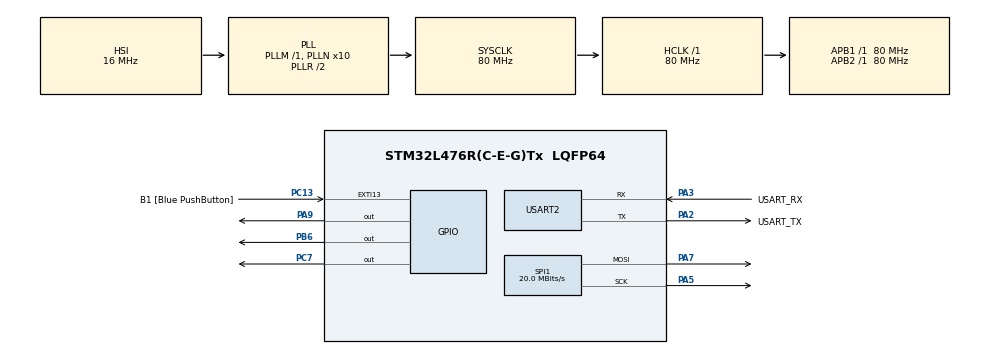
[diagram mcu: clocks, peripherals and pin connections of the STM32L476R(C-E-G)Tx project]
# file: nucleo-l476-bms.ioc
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Dma.Request0=SPI1_TX
Dma.SPI1_TX.0.Direction=DMA_MEMORY_TO_PERIPH
Dma.SPI1_TX.0.Instance=DMA1_Channel3
Dma.SPI1_TX.0.MemDataAlignment=DMA_MDATAALIGN_BYTE
Dma.SPI1_TX.0.MemInc=DMA_MINC_ENABLE
Dma.SPI1_TX.0.Mode=DMA_NORMAL
Dma.SPI1_TX.0.PeriphDataAlignment=DMA_PDATAALIGN_BYTE
Dma.SPI1_TX.0.PeriphInc=DMA_PINC_DISABLE
Dma.SPI1_TX.0.Priority=DMA_PRIORITY_LOW
Mcu.Family=STM32L4
Mcu.Name=STM32L476R(C-E-G)Tx
Mcu.Package=LQFP64
NVIC.DMA1_Channel3_IRQn=true\:0\:0\:false\:false\:true\:false\:true\:true
NVIC.PriorityGroup=NVIC_PRIORITYGROUP_4
PA13\ (JTMS-SWDIO).GPIO_Label=TMS
PA13\ (JTMS-SWDIO).Mode=Serial_Wire
PA13\ (JTMS-SWDIO).Signal=SYS_JTMS-SWDIO
PA14\ (JTCK-SWCLK).GPIO_Label=TCK
PA14\ (JTCK-SWCLK).Mode=Serial_Wire
PA14\ (JTCK-SWCLK).Signal=SYS_JTCK-SWCLK
PA2.GPIO_Label=USART_TX
PA2.GPIO_Mode=GPIO_MODE_AF_PP
PA2.GPIO_PuPd=GPIO_NOPULL
PA2.GPIO_Speed=GPIO_SPEED_FREQ_VERY_HIGH
PA2.Mode=Asynchronous
PA2.Signal=USART2_TX
PA3.GPIO_Label=USART_RX
PA3.GPIO_Mode=GPIO_MODE_AF_PP
PA3.GPIO_PuPd=GPIO_NOPULL
PA3.GPIO_Speed=GPIO_SPEED_FREQ_VERY_HIGH
PA3.Mode=Asynchronous
PA3.Signal=USART2_RX
PA5.Mode=TX_Only_Simplex_Unidirect_Master
PA5.Signal=SPI1_SCK
PA7.Mode=TX_Only_Simplex_Unidirect_Master
PA7.Signal=SPI1_MOSI
PA9.Signal=GPIO_Output
PB3\ (JTDO-TRACESWO).GPIO_Label=SWO
PB3\ (JTDO-TRACESWO).Signal=SYS_JTDO-SWO
PB6.Signal=GPIO_Output
PC13.GPIO_Label=B1 [Blue PushButton]
PC13.GPIO_ModeDefaultEXTI=GPIO_MODE_IT_FALLING
PC13.GPIO_PuPd=GPIO_NOPULL
PC13.Signal=GPXTI13
PC14-OSC32_IN\ (PC14).Mode=LSE-External-Oscillator
PC14-OSC32_IN\ (PC14).Signal=RCC_OSC32_IN
PC15-OSC32_OUT\ (PC15).Mode=LSE-External-Oscillator
PC15-OSC32_OUT\ (PC15).Signal=RCC_OSC32_OUT
PC7.Signal=GPIO_Output
PH0-OSC_IN\ (PH0).Signal=RCC_OSC_IN
PH1-OSC_OUT\ (PH1).Signal=RCC_OSC_OUT
ProjectManager.HeapSize=0x200
ProjectManager.StackSize=0x400
ProjectManager.TargetToolchain=STM32CubeIDE
RCC.ADCFreq_Value=64000000
RCC.AHBFreq_Value=80000000
RCC.APB1Freq_Value=80000000
RCC.APB1TimFreq_Value=80000000
RCC.APB2Freq_Value=80000000
RCC.APB2TimFreq_Value=80000000
RCC.CortexFreq_Value=80000000
RCC.HCLKFreq_Value=80000000
RCC.HSE_VALUE=8000000
RCC.HSI_VALUE=16000000
RCC.MSI_VALUE=4000000
RCC.PLLN=10
RCC.PLLSourceVirtual=RCC_PLLSOURCE_HSI
RCC.PREFETCH_ENABLE=1
RCC.SYSCLKFreq_VALUE=80000000
RCC.SYSCLKSource=RCC_SYSCLKSOURCE_PLLCLK
RCC.USBFreq_Value=64000000
RCC.VCOOutputFreq_Value=160000000
SPI1.BaudRatePrescaler=SPI_BAUDRATEPRESCALER_4
SPI1.CalculateBaudRate=20.0 MBits/s
SPI1.DataSize=SPI_DATASIZE_8BIT
SPI1.Direction=SPI_DIRECTION_2LINES
SPI1.Mode=SPI_MODE_MASTER
SPI1.VirtualType=VM_MASTER
USART2.VirtualMode-Asynchronous=VM_ASYNC
board=NUCLEO-L476RG

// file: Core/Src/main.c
/* USER CODE BEGIN Header */
/**
  ******************************************************************************
  * @file           : main.c
  * @brief          : Main program body
  ******************************************************************************
  * @attention
  *
  * Copyright (c) 2022 STMicroelectronics.
  * All rights reserved.
  *
  * This software is licensed under terms that can be found in the LICENSE file
  * in the root directory of this software component.
  * If no LICENSE file comes with this software, it is provided AS-IS.
  *
  ******************************************************************************
  */
/* USER CODE END Header */
#include "main.h"

/* USER CODE BEGIN Includes */
#include <stdio.h>
#include "ILI9341_STM32_Driver.h"
#include "ILI9341_GFX.h"
#include "snow_tiger.h"
/* USER CODE END Includes */

SPI_HandleTypeDef hspi1;
DMA_HandleTypeDef hdma_spi1_tx;

UART_HandleTypeDef huart2;

void SystemClock_Config(void);
static void MX_GPIO_Init(void);
static void MX_DMA_Init(void);
static void MX_USART2_UART_Init(void);
static void MX_SPI1_Init(void);

int main(void)
{

  /* MCU Configuration--------------------------------------------------------*/

  /* Reset of all peripherals, Initializes the Flash interface and the Systick. */
  HAL_Init();

  /* Configure the system clock */
  SystemClock_Config();

  /* Initialize all configured peripherals */
  MX_GPIO_Init();
  MX_DMA_Init();
  MX_USART2_UART_Init();
  MX_SPI1_Init();
  /* USER CODE BEGIN 2 */
  ILI9341_Init();

#if 0
  // Simple Text writing (Text, Font, X, Y, Color, BackColor)
  // Available Fonts are FONT1, FONT2, FONT3 and FONT4
  ILI9341_FillScreen(WHITE);
  ILI9341_SetRotation(SCREEN_HORIZONTAL_2);
  ILI9341_DrawText("HELLO WORLD", FONT4, 90, 110, BLACK, WHITE);
  HAL_Delay(1000);

  //Writing numbers
  ILI9341_FillScreen(WHITE);
  static char BufferText[30];
  for(uint8_t i = 0; i <= 5; i++)
  {
    sprintf(BufferText, "COUNT : %d", i);
    ILI9341_DrawText(BufferText, FONT3, 10, 10, BLACK, WHITE);
    ILI9341_DrawText(BufferText, FONT3, 10, 30, BLUE, WHITE);
    ILI9341_DrawText(BufferText, FONT3, 10, 50, RED, WHITE);
    ILI9341_DrawText(BufferText, FONT3, 10, 70, GREEN, WHITE);
    ILI9341_DrawText(BufferText, FONT3, 10, 90, YELLOW, WHITE);
    ILI9341_DrawText(BufferText, FONT3, 10, 110, PURPLE, WHITE);
    ILI9341_DrawText(BufferText, FONT3, 10, 130, ORANGE, WHITE);
    ILI9341_DrawText(BufferText, FONT3, 10, 150, MAROON, WHITE);
    ILI9341_DrawText(BufferText, FONT3, 10, 170, WHITE, BLACK);
    ILI9341_DrawText(BufferText, FONT3, 10, 190, BLUE, BLACK);
  }

  // Horizontal Line (X, Y, Length, Color)
  ILI9341_FillScreen(WHITE);
  ILI9341_DrawHLine(50, 120, 200, NAVY);
  HAL_Delay(1000);

  // Vertical Line (X, Y, Length, Color)
  ILI9341_FillScreen(WHITE);
  ILI9341_DrawVLine(160, 40, 150, DARKGREEN);
  HAL_Delay(1000);

  // Hollow Circle (Centre X, Centre Y, Radius, Color)
  ILI9341_FillScreen(WHITE);
  ILI9341_DrawHollowCircle(160, 120, 80, PINK);
  HAL_Delay(1000);

  // Filled Circle (Centre X, Centre Y, Radius, Color)
  ILI9341_FillScreen(WHITE);
  ILI9341_DrawFilledCircle(160, 120, 50, CYAN);
  HAL_Delay(1000);

  // Filled Rectangle (Start X, Start Y, Length X, Length Y)
  ILI9341_FillScreen(WHITE);
  ILI9341_DrawRectangle(50, 50, 220, 140, GREENYELLOW);
  HAL_Delay(1000);

  // Hollow Rectangle (Start X, Start Y, End X, End Y)
  ILI9341_FillScreen(WHITE);
  ILI9341_DrawHollowRectangleCoord(50, 50, 270, 190, DARKCYAN);
  HAL_Delay(1000);

  // Simple Pixel Only (X, Y, Color)
  ILI9341_FillScreen(WHITE);
  ILI9341_DrawPixel(100, 100, BLACK);
  HAL_Delay(1000);
#endif

  /* USER CODE END 2 */

  /* Infinite loop */
  /* USER CODE BEGIN WHILE */
  while (1)
  {
		static uint16_t x = 0;
		static uint16_t y = 0;
		static char BufferText[40];
    /* USER CODE END WHILE */

    /* USER CODE BEGIN 3 */

		/* COUNTING MULTIPLE SEGMENTS */
		ILI9341_FillScreen(WHITE);
		ILI9341_SetRotation(SCREEN_HORIZONTAL_2);
		ILI9341_DrawText("Counting multiple segments at once", FONT2, 10, 10, BLACK, WHITE);
		HAL_Delay(2000);
		ILI9341_FillScreen(WHITE);

		for(uint16_t i = 0; i <= 10; i++)
		{
			sprintf(BufferText, "Counting: %d", i);
			ILI9341_DrawText(BufferText, FONT3, 10, 10, BLACK, WHITE);
			ILI9341_DrawText(BufferText, FONT3, 10, 30, BLUE, WHITE);
			ILI9341_DrawText(BufferText, FONT3, 10, 50, RED, WHITE);
			ILI9341_DrawText(BufferText, FONT3, 10, 70, GREEN, WHITE);
			ILI9341_DrawText(BufferText, FONT3, 10, 90, BLACK, WHITE);
			ILI9341_DrawText(BufferText, FONT3, 10, 110, BLUE, WHITE);
			ILI9341_DrawText(BufferText, FONT3, 10, 130, RED, WHITE);
			ILI9341_DrawText(BufferText, FONT3, 10, 150, GREEN, WHITE);
			ILI9341_DrawText(BufferText, FONT3, 10, 170, WHITE, BLACK);
			ILI9341_DrawText(BufferText, FONT3, 10, 190, BLUE, BLACK);
			ILI9341_DrawText(BufferText, FONT3, 10, 210, RED, BLACK);
		}
		HAL_Delay(1000);

		/* COUNTING MULTIPLE SEGMENTS */
		ILI9341_FillScreen(WHITE);
		ILI9341_SetRotation(SCREEN_VERTICAL_1);
		ILI9341_DrawText("Counting multiple segments at once", FONT2, 10, 10, BLACK, WHITE);
		HAL_Delay(2000);
		ILI9341_FillScreen(WHITE);

		for(uint16_t i = 0; i <= 10; i++)
		{
			sprintf(BufferText, "Counting: %d", i);
			ILI9341_DrawText(BufferText, FONT3, 10, 10, BLACK, WHITE);
			ILI9341_DrawText(BufferText, FONT3, 10, 30, BLUE, WHITE);
			ILI9341_DrawText(BufferText, FONT3, 10, 50, RED, WHITE);
			ILI9341_DrawText(BufferText, FONT3, 10, 70, GREEN, WHITE);
			ILI9341_DrawText(BufferText, FONT3, 10, 90, BLACK, WHITE);
			ILI9341_DrawText(BufferText, FONT3, 10, 110, BLUE, WHITE);
			ILI9341_DrawText(BufferText, FONT3, 10, 130, RED, WHITE);
			ILI9341_DrawText(BufferText, FONT3, 10, 150, GREEN, WHITE);
			ILI9341_DrawText(BufferText, FONT3, 10, 170, WHITE, BLACK);
			ILI9341_DrawText(BufferText, FONT3, 10, 190, BLUE, BLACK);
			ILI9341_DrawText(BufferText, FONT3, 10, 210, RED, BLACK);
		}
		HAL_Delay(1000);

		/* IMAGE EXAMPLE */
		ILI9341_FillScreen(WHITE);
		ILI9341_SetRotation(SCREEN_HORIZONTAL_2);
		ILI9341_DrawText("RGB Picture", FONT3, 10, 10, RED, YELLOW);
		ILI9341_DrawText("TIGER", FONT3, 10, 30, BLACK, WHITE);
		HAL_Delay(2000);
		ILI9341_FillScreen(WHITE);
		ILI9341_DrawImage(snow_tiger, SCREEN_HORIZONTAL_2);
		ILI9341_SetRotation(SCREEN_HORIZONTAL_2);
		//ILI9341_DrawImage(snow_tiger, SCREEN_VERTICAL_2);
		//ILI9341_SetRotation(SCREEN_VERTICAL_1);
		HAL_Delay(5000);
  }
  /* USER CODE END 3 */
}

void SystemClock_Config(void)
{
  RCC_OscInitTypeDef RCC_OscInitStruct = {0};
  RCC_ClkInitTypeDef RCC_ClkInitStruct = {0};

  /** Configure the main internal regulator output voltage
  */
  if (HAL_PWREx_ControlVoltageScaling(PWR_REGULATOR_VOLTAGE_SCALE1) != HAL_OK)
  {
    Error_Handler();
  }

  /** Initializes the RCC Oscillators according to the specified parameters
  * in the RCC_OscInitTypeDef structure.
  */
  RCC_OscInitStruct.OscillatorType = RCC_OSCILLATORTYPE_HSI;
  RCC_OscInitStruct.HSIState = RCC_HSI_ON;
  RCC_OscInitStruct.HSICalibrationValue = RCC_HSICALIBRATION_DEFAULT;
  RCC_OscInitStruct.PLL.PLLState = RCC_PLL_ON;
  RCC_OscInitStruct.PLL.PLLSource = RCC_PLLSOURCE_HSI;
  RCC_OscInitStruct.PLL.PLLM = 1;
  RCC_OscInitStruct.PLL.PLLN = 10;
  RCC_OscInitStruct.PLL.PLLP = RCC_PLLP_DIV7;
  RCC_OscInitStruct.PLL.PLLQ = RCC_PLLQ_DIV2;
  RCC_OscInitStruct.PLL.PLLR = RCC_PLLR_DIV2;
  if (HAL_RCC_OscConfig(&RCC_OscInitStruct) != HAL_OK)
  {
    Error_Handler();
  }

  /** Initializes the CPU, AHB and APB buses clocks
  */
  RCC_ClkInitStruct.ClockType = RCC_CLOCKTYPE_HCLK|RCC_CLOCKTYPE_SYSCLK
                              |RCC_CLOCKTYPE_PCLK1|RCC_CLOCKTYPE_PCLK2;
  RCC_ClkInitStruct.SYSCLKSource = RCC_SYSCLKSOURCE_PLLCLK;
  RCC_ClkInitStruct.AHBCLKDivider = RCC_SYSCLK_DIV1;
  RCC_ClkInitStruct.APB1CLKDivider = RCC_HCLK_DIV1;
  RCC_ClkInitStruct.APB2CLKDivider = RCC_HCLK_DIV1;

  if (HAL_RCC_ClockConfig(&RCC_ClkInitStruct, FLASH_LATENCY_4) != HAL_OK)
  {
    Error_Handler();
  }
}

static void MX_SPI1_Init(void)
{

  /* SPI1 parameter configuration*/
  hspi1.Instance = SPI1;
  hspi1.Init.Mode = SPI_MODE_MASTER;
  hspi1.Init.Direction = SPI_DIRECTION_2LINES;
  hspi1.Init.DataSize = SPI_DATASIZE_8BIT;
  hspi1.Init.CLKPolarity = SPI_POLARITY_LOW;
  hspi1.Init.CLKPhase = SPI_PHASE_1EDGE;
  hspi1.Init.NSS = SPI_NSS_SOFT;
  hspi1.Init.BaudRatePrescaler = SPI_BAUDRATEPRESCALER_4;
  hspi1.Init.FirstBit = SPI_FIRSTBIT_MSB;
  hspi1.Init.TIMode = SPI_TIMODE_DISABLE;
  hspi1.Init.CRCCalculation = SPI_CRCCALCULATION_DISABLE;
  hspi1.Init.CRCPolynomial = 7;
  hspi1.Init.CRCLength = SPI_CRC_LENGTH_DATASIZE;
  hspi1.Init.NSSPMode = SPI_NSS_PULSE_ENABLE;
  if (HAL_SPI_Init(&hspi1) != HAL_OK)
  {
    Error_Handler();
  }

}

static void MX_USART2_UART_Init(void)
{

  huart2.Instance = USART2;
  huart2.Init.BaudRate = 115200;
  huart2.Init.WordLength = UART_WORDLENGTH_8B;
  huart2.Init.StopBits = UART_STOPBITS_1;
  huart2.Init.Parity = UART_PARITY_NONE;
  huart2.Init.Mode = UART_MODE_TX_RX;
  huart2.Init.HwFlowCtl = UART_HWCONTROL_NONE;
  huart2.Init.OverSampling = UART_OVERSAMPLING_16;
  huart2.Init.OneBitSampling = UART_ONE_BIT_SAMPLE_DISABLE;
  huart2.AdvancedInit.AdvFeatureInit = UART_ADVFEATURE_NO_INIT;
  if (HAL_UART_Init(&huart2) != HAL_OK)
  {
    Error_Handler();
  }

}

static void MX_DMA_Init(void)
{

  /* DMA controller clock enable */
  __HAL_RCC_DMA1_CLK_ENABLE();

  /* DMA interrupt init */
  /* DMA1_Channel3_IRQn interrupt configuration */
  HAL_NVIC_SetPriority(DMA1_Channel3_IRQn, 0, 0);
  HAL_NVIC_EnableIRQ(DMA1_Channel3_IRQn);

}

static void MX_GPIO_Init(void)
{
  GPIO_InitTypeDef GPIO_InitStruct = {0};

  /* GPIO Ports Clock Enable */
  __HAL_RCC_GPIOC_CLK_ENABLE();
  __HAL_RCC_GPIOH_CLK_ENABLE();
  __HAL_RCC_GPIOA_CLK_ENABLE();
  __HAL_RCC_GPIOB_CLK_ENABLE();

  /*Configure GPIO pin Output Level */
  HAL_GPIO_WritePin(GPIOC, GPIO_PIN_7, GPIO_PIN_RESET);

  /*Configure GPIO pin Output Level */
  HAL_GPIO_WritePin(GPIOA, GPIO_PIN_9, GPIO_PIN_RESET);

  /*Configure GPIO pin Output Level */
  HAL_GPIO_WritePin(GPIOB, GPIO_PIN_6, GPIO_PIN_RESET);

  /*Configure GPIO pin : B1_Pin */
  GPIO_InitStruct.Pin = B1_Pin;
  GPIO_InitStruct.Mode = GPIO_MODE_IT_FALLING;
  GPIO_InitStruct.Pull = GPIO_NOPULL;
  HAL_GPIO_Init(B1_GPIO_Port, &GPIO_InitStruct);

  /*Configure GPIO pin : PC7 */
  GPIO_InitStruct.Pin = GPIO_PIN_7;
  GPIO_InitStruct.Mode = GPIO_MODE_OUTPUT_PP;
  GPIO_InitStruct.Pull = GPIO_NOPULL;
  GPIO_InitStruct.Speed = GPIO_SPEED_FREQ_LOW;
  HAL_GPIO_Init(GPIOC, &GPIO_InitStruct);

  /*Configure GPIO pin : PA9 */
  GPIO_InitStruct.Pin = GPIO_PIN_9;
  GPIO_InitStruct.Mode = GPIO_MODE_OUTPUT_PP;
  GPIO_InitStruct.Pull = GPIO_NOPULL;
  GPIO_InitStruct.Speed = GPIO_SPEED_FREQ_LOW;
  HAL_GPIO_Init(GPIOA, &GPIO_InitStruct);

  /*Configure GPIO pin : PB6 */
  GPIO_InitStruct.Pin = GPIO_PIN_6;
  GPIO_InitStruct.Mode = GPIO_MODE_OUTPUT_PP;
  GPIO_InitStruct.Pull = GPIO_NOPULL;
  GPIO_InitStruct.Speed = GPIO_SPEED_FREQ_LOW;
  HAL_GPIO_Init(GPIOB, &GPIO_InitStruct);

}

void Error_Handler(void)
{
  __disable_irq();
  while (1)
  {
  }
}
